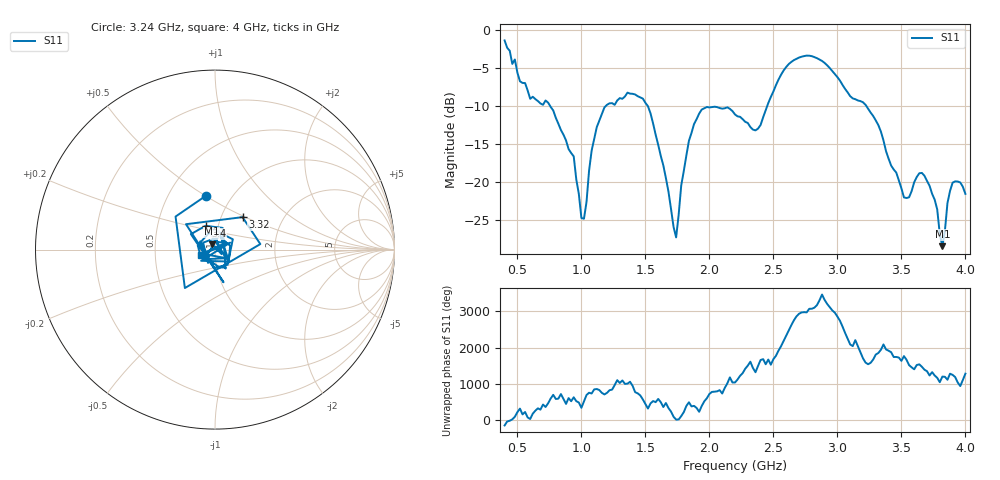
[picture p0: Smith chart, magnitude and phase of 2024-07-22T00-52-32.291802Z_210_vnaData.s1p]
!Created with skrf (http://scikit-rf.org).
# Hz S RI R 50.0
!freq ReS11 ImS11
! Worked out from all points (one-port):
!   181 points, 400 MHz to 4 GHz, reference 50 ohm
!   lowest |S11| = -28.5 dB at 3.82 GHz (marker M1), VSWR 1.08, Z = 48.1 + j3.17 ohm
!   |S11| at or under -10 dB: 756.5 MHz to 1.189 GHz (432.8 MHz wide, 44.5 % of centre); 1.52 GHz to 2.451 GHz (931.2 MHz wide, 46.9 % of centre); 3.227 GHz to end of sweep
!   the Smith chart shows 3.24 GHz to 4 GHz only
!   S11 on the Smith chart (normalised r, x): 3.24 GHz: 0.76, +0.50; 3.32 GHz: 1.26, +0.48; 3.4 GHz: 0.87, +0.24; 4 GHz: 0.85, -0.05
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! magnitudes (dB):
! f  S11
! 400 MHz  -1.3
! 600 MHz  -9.0
! 740 MHz  -9.5
! 860 MHz  -13.8
! 940 MHz  -16.6
! 1 GHz  -24.7
! 1.02 GHz  -24.8
! 1.12 GHz  -12.8
! 1.3 GHz  -8.9
! 1.52 GHz  -10.0
! 1.74 GHz  -27.3
! 1.76 GHz  -24.3
! 1.84 GHz  -14.6
! 1.92 GHz  -11.0
! 2.2 GHz  -11.1
! 2.38 GHz  -13.0
! 2.66 GHz  -3.9
! 2.88 GHz  -4.0
! 3.1 GHz  -8.7
! 3.24 GHz  -10.3
! 3.32 GHz  -12.5
! 3.4 GHz  -16.9
! 3.56 GHz  -22.0
! 3.68 GHz  -19.2
! 3.78 GHz  -23.6
! 3.82 GHz  -28.5
! 3.9 GHz  -20.1
! 4 GHz  -21.6
